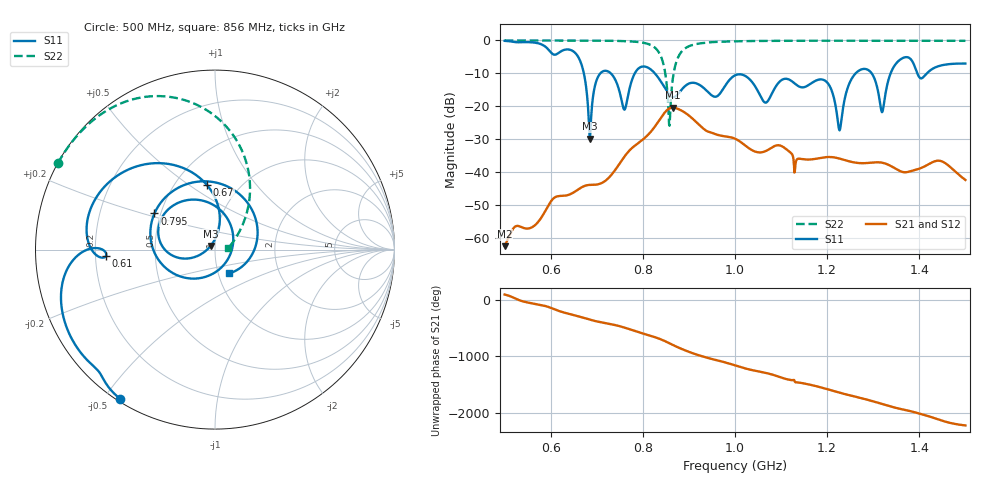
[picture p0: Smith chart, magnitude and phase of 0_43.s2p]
! TOUCHSTONE file generated by CST MICROWAVE STUDIO
! Date and time: Sat Oct 24 10:48:40 2020
! Project name: Scenario_1_Planar_Body_Tissue_Center.cst
! Parameters = {hfat=3; hmuscle=50; hskin=1.5; hgap=25; Wtissue=700; Ltissue=700; L_HA=400; MT=2.54; Rad_Dielectric=30; Rad_Lower=7.3; Rad_Upper=30; a_HA=580; a_WG=246; b_HA=500; b_WG=121; c_HA=0; c_WG=187; d_feed=85; dx1=900.44; h_feed=15; h_lower=18; h_upper=40}
! Header version: 2018
! Port assignment regex: !\s*Touchstone port\s*([0-9]+)\s*=\s*(CST MWS port|CST DS port)\s*([0-9]+|Zmin|Zmax)\s*\(\"(.*)\"\)(\s*mode\s*([0-9]+))?.*
! Touchstone port assignment:
! Touchstone port 1 = CST MWS port 1 ("")
! Touchstone port 2 = CST MWS port 2 ("")
# GHz S DB R 50
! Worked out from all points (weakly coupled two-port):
!   1003 points, 500 MHz to 1.5 GHz, reference 50 ohm
!   highest |S21| = -20.44 dB at 865 MHz (marker M1); lowest = -62.5 dB at 500 MHz (marker M2)
!   lowest |S11| = -29.9 dB at 685 MHz (marker M3), VSWR 1.07, Z = 47.5 + j1.9 ohm
!   |S11| at or under -10 dB: 730.4 MHz to 782.6 MHz (52.12 MHz wide, 6.89 % of centre); 826 MHz to 1.262 GHz (435.9 MHz wide, 41.8 % of centre); 1.297 GHz to 1.338 GHz (41.15 MHz wide, 3.12 % of centre)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
!   |S22| runs from -25.9 to 0.0 dB; largest |S21 - S12| = 0.00011
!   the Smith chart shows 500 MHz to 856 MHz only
!   S11 on the Smith chart (normalised r, x): 500 MHz: 0.01, -0.55; 610 MHz: 0.24, -0.03; 670 MHz: 0.71, +0.59; 795 MHz: 0.46, +0.22; 856 MHz: 1.13, -0.31
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0.5  -0.13 -122.3  -62.55 87.8  -62.55 87.8  -0.01 151.1
0.61  -4.33 -176.9  -47.63 -178.0  -47.63 -178.0  -0.02 143.3
0.667  -7.37 104.2  -44.67 46.9  -44.67 46.9  -0.04 138.4
0.67  -8.83 97.0  -44.45 39.6  -44.45 39.6  -0.04 138.1
0.685  -29.89 141.4  -43.92 3.5  -43.92 3.5  -0.05 136.5
0.709  -9.82 166.9  -43.47 -40.9  -43.47 -40.9  -0.08 133.7
0.76  -21.05 -26.1  -35.33 -135.3  -35.33 -135.3  -0.21 125.4
0.795  -8.11 149.2  -30.68 132.3  -30.67 132.3  -0.57 114.8
0.834  -11.42 28.9  -24.60 33.1  -24.60 33.1  -3.46 83.3
0.856  -16.21 -58.9  -20.82 -45.8  -20.82 -45.8  -22.50 6.6
0.865  -17.26 -108.0  -20.44 -82.0  -20.44 -82.0  -11.68 -141.6
0.899  -13.17 87.3  -22.72 159.4  -22.72 159.4  -1.83 168.6
1  -10.62 34.8  -29.87 -83.0  -29.87 -83.0  -0.27 140.2
1.066  -18.91 151.7  -33.67 145.6  -33.67 145.6  -0.14 132.8
1.12  -12.09 -83.8  -34.03 20.2  -34.03 20.2  -0.11 128.0
1.167  -12.90 90.0  -36.15 -71.8  -36.15 -71.8  -0.10 124.2
1.203  -13.32 -12.0  -35.44 -149.7  -35.44 -149.7  -0.09 121.4
1.227  -27.34 -155.4  -35.93 154.8  -35.93 154.8  -0.08 119.6
1.264  -9.71 45.8  -37.21 79.1  -37.21 79.1  -0.09 116.8
1.319  -21.81 6.5  -37.17 -44.3  -37.17 -44.3  -0.08 112.6
1.334  -11.52 46.1  -37.88 -80.4  -37.88 -80.4  -0.09 111.5
1.5  -7.02 -45.9  -42.43 -63.3  -42.43 -63.3  -0.12 97.9
